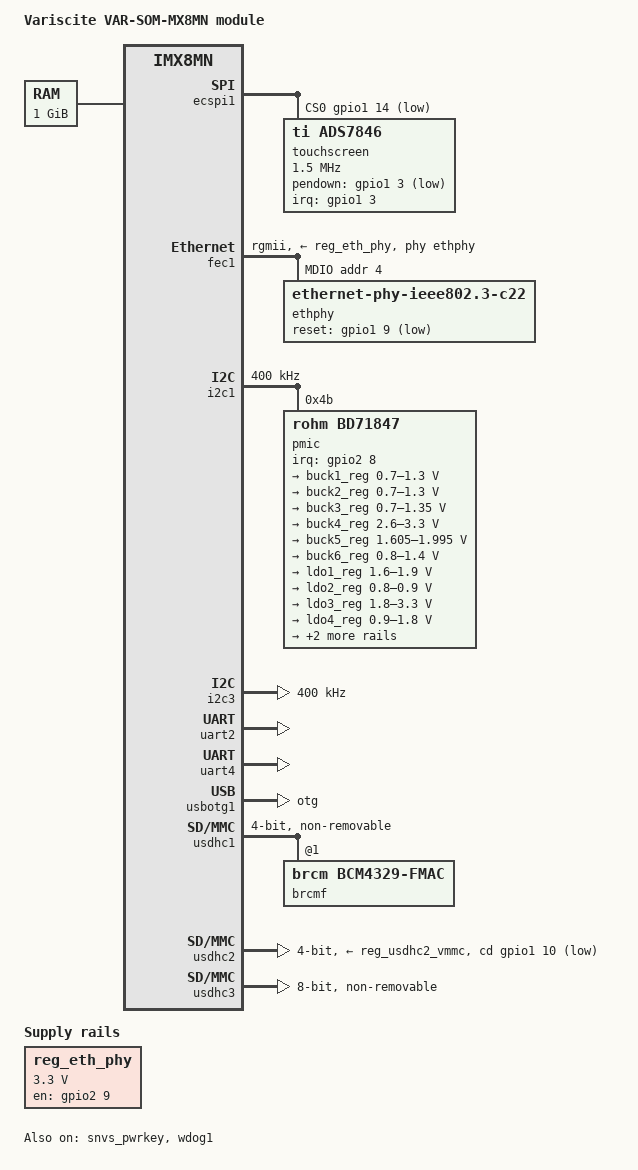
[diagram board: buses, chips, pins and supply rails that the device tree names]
// SPDX-License-Identifier: (GPL-2.0+ OR MIT)
/*
 * Copyright 2019 NXP
 * Copyright 2019-2020 Variscite Ltd.
 * Copyright (C) 2020 Krzysztof Kozlowski <krzk@kernel.org>
 */

#include "imx8mn.dtsi"

/ {
	model = "Variscite VAR-SOM-MX8MN module";
	compatible = "variscite,var-som-mx8mn", "fsl,imx8mn";

	chosen {
		stdout-path = &uart4;
	};

	memory@40000000 {
		device_type = "memory";
		reg = <0x0 0x40000000 0 0x40000000>;
	};

	reg_eth_phy: regulator-eth-phy {
		compatible = "regulator-fixed";
		pinctrl-names = "default";
		pinctrl-0 = <&pinctrl_reg_eth_phy>;
		regulator-name = "eth_phy_pwr";
		regulator-min-microvolt = <3300000>;
		regulator-max-microvolt = <3300000>;
		gpio = <&gpio2 9 GPIO_ACTIVE_HIGH>;
		enable-active-high;
	};
};

&A53_0 {
	cpu-supply = <&buck2_reg>;
};

&A53_1 {
	cpu-supply = <&buck2_reg>;
};

&A53_2 {
	cpu-supply = <&buck2_reg>;
};

&A53_3 {
	cpu-supply = <&buck2_reg>;
};

&ecspi1 {
	pinctrl-names = "default";
	pinctrl-0 = <&pinctrl_ecspi1>;
	cs-gpios = <&gpio1 14 GPIO_ACTIVE_LOW>,
		   <&gpio1  0 GPIO_ACTIVE_LOW>;
	/delete-property/ dmas;
	/delete-property/ dma-names;
	status = "okay";

	/* Resistive touch controller */
	touchscreen@0 {
		reg = <0>;
		compatible = "ti,ads7846";
		pinctrl-names = "default";
		pinctrl-0 = <&pinctrl_restouch>;
		interrupt-parent = <&gpio1>;
		interrupts = <3 IRQ_TYPE_EDGE_FALLING>;

		spi-max-frequency = <1500000>;
		pendown-gpio = <&gpio1 3 GPIO_ACTIVE_LOW>;

		ti,x-min = /bits/ 16 <125>;
		touchscreen-size-x = <4008>;
		ti,y-min = /bits/ 16 <282>;
		touchscreen-size-y = <3864>;
		ti,x-plate-ohms = /bits/ 16 <180>;
		touchscreen-max-pressure = <255>;
		touchscreen-average-samples = <10>;
		ti,debounce-tol = /bits/ 16 <3>;
		ti,debounce-rep = /bits/ 16 <1>;
		ti,settle-delay-usec = /bits/ 16 <150>;
		ti,keep-vref-on;
		wakeup-source;
	};
};

&fec1 {
	pinctrl-names = "default", "sleep";
	pinctrl-0 = <&pinctrl_fec1>;
	pinctrl-1 = <&pinctrl_fec1_sleep>;
	phy-mode = "rgmii";
	phy-handle = <&ethphy>;
	phy-supply = <&reg_eth_phy>;
	fsl,magic-packet;
	status = "okay";

	mdio {
		#address-cells = <1>;
		#size-cells = <0>;

		ethphy: ethernet-phy@4 {
			compatible = "ethernet-phy-ieee802.3-c22";
			reg = <4>;
			reset-gpios = <&gpio1 9 GPIO_ACTIVE_LOW>;
			reset-assert-us = <10000>;
		};
	};
};

&i2c1 {
	clock-frequency = <400000>;
	pinctrl-names = "default";
	pinctrl-0 = <&pinctrl_i2c1>;
	status = "okay";

	pmic@4b {
		compatible = "rohm,bd71847";
		reg = <0x4b>;
		pinctrl-names = "default";
		pinctrl-0 = <&pinctrl_pmic>;
		interrupt-parent = <&gpio2>;
		interrupts = <8 IRQ_TYPE_LEVEL_LOW>;
		rohm,reset-snvs-powered;

		regulators {
			buck1_reg: BUCK1 {
				regulator-name = "buck1";
				regulator-min-microvolt = <700000>;
				regulator-max-microvolt = <1300000>;
				regulator-boot-on;
				regulator-always-on;
				regulator-ramp-delay = <1250>;
			};

			buck2_reg: BUCK2 {
				regulator-name = "buck2";
				regulator-min-microvolt = <700000>;
				regulator-max-microvolt = <1300000>;
				regulator-boot-on;
				regulator-always-on;
				regulator-ramp-delay = <1250>;
				rohm,dvs-run-voltage = <1000000>;
				rohm,dvs-idle-voltage = <900000>;
			};

			buck3_reg: BUCK3 {
				regulator-name = "buck3";
				regulator-min-microvolt = <700000>;
				regulator-max-microvolt = <1350000>;
				regulator-boot-on;
				regulator-always-on;
			};

			buck4_reg: BUCK4 {
				regulator-name = "buck4";
				regulator-min-microvolt = <2600000>;
				regulator-max-microvolt = <3300000>;
				regulator-boot-on;
				regulator-always-on;
			};

			buck5_reg: BUCK5 {
				regulator-name = "buck5";
				regulator-min-microvolt = <1605000>;
				regulator-max-microvolt = <1995000>;
				regulator-boot-on;
				regulator-always-on;
			};

			buck6_reg: BUCK6 {
				regulator-name = "buck6";
				regulator-min-microvolt = <800000>;
				regulator-max-microvolt = <1400000>;
				regulator-boot-on;
				regulator-always-on;
			};

			ldo1_reg: LDO1 {
				regulator-name = "ldo1";
				regulator-min-microvolt = <1600000>;
				regulator-max-microvolt = <1900000>;
				regulator-boot-on;
				regulator-always-on;
			};

			ldo2_reg: LDO2 {
				regulator-name = "ldo2";
				regulator-min-microvolt = <800000>;
				regulator-max-microvolt = <900000>;
				regulator-boot-on;
				regulator-always-on;
			};

			ldo3_reg: LDO3 {
				regulator-name = "ldo3";
				regulator-min-microvolt = <1800000>;
				regulator-max-microvolt = <3300000>;
				regulator-boot-on;
				regulator-always-on;
			};

			ldo4_reg: LDO4 {
				regulator-name = "ldo4";
				regulator-min-microvolt = <900000>;
				regulator-max-microvolt = <1800000>;
				regulator-always-on;
			};

			ldo5_reg: LDO5 {
				regulator-name = "ldo5";
				regulator-min-microvolt = <1800000>;
				regulator-max-microvolt = <1800000>;
				regulator-always-on;
			};

			ldo6_reg: LDO6 {
				regulator-name = "ldo6";
				regulator-min-microvolt = <900000>;
				regulator-max-microvolt = <1800000>;
				regulator-boot-on;
				regulator-always-on;
			};
		};
	};
};

&i2c3 {
	clock-frequency = <400000>;
	pinctrl-names = "default";
	pinctrl-0 = <&pinctrl_i2c3>;
	status = "okay";

	/* TODO: configure audio, as of now just put a placeholder */
	wm8904: codec@1a {
		compatible = "wlf,wm8904";
		reg = <0x1a>;
		status = "disabled";
	};
};

&snvs_pwrkey {
	status = "okay";
};

/* Bluetooth */
&uart2 {
	pinctrl-names = "default";
	pinctrl-0 = <&pinctrl_uart2>;
	assigned-clocks = <&clk IMX8MN_CLK_UART2>;
	assigned-clock-parents = <&clk IMX8MN_SYS_PLL1_80M>;
	uart-has-rtscts;
	status = "okay";
};

/* Console */
&uart4 {
	pinctrl-names = "default";
	pinctrl-0 = <&pinctrl_uart4>;
	status = "okay";
};

&usbotg1 {
	dr_mode = "otg";
	usb-role-switch;
	status = "okay";
};

/* WIFI */
&usdhc1 {
	#address-cells = <1>;
	#size-cells = <0>;
	pinctrl-names = "default", "state_100mhz", "state_200mhz";
	pinctrl-0 = <&pinctrl_usdhc1>;
	pinctrl-1 = <&pinctrl_usdhc1_100mhz>;
	pinctrl-2 = <&pinctrl_usdhc1_200mhz>;
	bus-width = <4>;
	non-removable;
	keep-power-in-suspend;
	status = "okay";

	brcmf: bcrmf@1 {
		reg = <1>;
		compatible = "brcm,bcm4329-fmac";
	};
};

/* SD */
&usdhc2 {
	assigned-clocks = <&clk IMX8MN_CLK_USDHC2>;
	assigned-clock-rates = <200000000>;
	pinctrl-names = "default", "state_100mhz", "state_200mhz";
	pinctrl-0 = <&pinctrl_usdhc2>, <&pinctrl_usdhc2_gpio>;
	pinctrl-1 = <&pinctrl_usdhc2_100mhz>, <&pinctrl_usdhc2_gpio>;
	pinctrl-2 = <&pinctrl_usdhc2_200mhz>, <&pinctrl_usdhc2_gpio>;
	cd-gpios = <&gpio1 10 GPIO_ACTIVE_LOW>;
	bus-width = <4>;
	vmmc-supply = <&reg_usdhc2_vmmc>;
	status = "okay";
};

/* eMMC */
&usdhc3 {
	assigned-clocks = <&clk IMX8MN_CLK_USDHC3_ROOT>;
	assigned-clock-rates = <400000000>;
	pinctrl-names = "default", "state_100mhz", "state_200mhz";
	pinctrl-0 = <&pinctrl_usdhc3>;
	pinctrl-1 = <&pinctrl_usdhc3_100mhz>;
	pinctrl-2 = <&pinctrl_usdhc3_200mhz>;
	bus-width = <8>;
	non-removable;
	status = "okay";
};

&wdog1 {
	pinctrl-names = "default";
	pinctrl-0 = <&pinctrl_wdog>;
	fsl,ext-reset-output;
	status = "okay";
};

&iomuxc {
	pinctrl_ecspi1: ecspi1grp {
		fsl,pins = <
			MX8MN_IOMUXC_ECSPI1_SCLK_ECSPI1_SCLK		0x13
			MX8MN_IOMUXC_ECSPI1_MOSI_ECSPI1_MOSI		0x13
			MX8MN_IOMUXC_ECSPI1_MISO_ECSPI1_MISO		0x13
			MX8MN_IOMUXC_GPIO1_IO14_GPIO1_IO14		0x13
			MX8MN_IOMUXC_GPIO1_IO00_GPIO1_IO0		0x13
		>;
	};

	pinctrl_fec1: fec1grp {
		fsl,pins = <
			MX8MN_IOMUXC_ENET_MDC_ENET1_MDC			0x3
			MX8MN_IOMUXC_ENET_MDIO_ENET1_MDIO		0x3
			MX8MN_IOMUXC_ENET_TD3_ENET1_RGMII_TD3		0x1f
			MX8MN_IOMUXC_ENET_TD2_ENET1_RGMII_TD2		0x1f
			MX8MN_IOMUXC_ENET_TD1_ENET1_RGMII_TD1		0x1f
			MX8MN_IOMUXC_ENET_TD0_ENET1_RGMII_TD0		0x1f
			MX8MN_IOMUXC_ENET_RD3_ENET1_RGMII_RD3		0x91
			MX8MN_IOMUXC_ENET_RD2_ENET1_RGMII_RD2		0x91
			MX8MN_IOMUXC_ENET_RD1_ENET1_RGMII_RD1		0x91
			MX8MN_IOMUXC_ENET_RD0_ENET1_RGMII_RD0		0x91
			MX8MN_IOMUXC_ENET_TXC_ENET1_RGMII_TXC		0x1f
			MX8MN_IOMUXC_ENET_RXC_ENET1_RGMII_RXC		0x91
			MX8MN_IOMUXC_ENET_RX_CTL_ENET1_RGMII_RX_CTL	0x91
			MX8MN_IOMUXC_ENET_TX_CTL_ENET1_RGMII_TX_CTL	0x1f
			MX8MN_IOMUXC_GPIO1_IO09_GPIO1_IO9		0x19
		>;
	};

	pinctrl_fec1_sleep: fec1sleepgrp {
		fsl,pins = <
			MX8MN_IOMUXC_ENET_MDC_GPIO1_IO16		0x120
			MX8MN_IOMUXC_ENET_MDIO_GPIO1_IO17		0x120
			MX8MN_IOMUXC_ENET_TD3_GPIO1_IO18		0x120
			MX8MN_IOMUXC_ENET_TD2_GPIO1_IO19		0x120
			MX8MN_IOMUXC_ENET_TD1_GPIO1_IO20		0x120
			MX8MN_IOMUXC_ENET_TD0_GPIO1_IO21		0x120
			MX8MN_IOMUXC_ENET_RD3_GPIO1_IO29		0x120
			MX8MN_IOMUXC_ENET_RD2_GPIO1_IO28		0x120
			MX8MN_IOMUXC_ENET_RD1_GPIO1_IO27		0x120
			MX8MN_IOMUXC_ENET_RD0_GPIO1_IO26		0x120
			MX8MN_IOMUXC_ENET_TXC_GPIO1_IO23		0x120
			MX8MN_IOMUXC_ENET_RXC_GPIO1_IO25		0x120
			MX8MN_IOMUXC_ENET_RX_CTL_GPIO1_IO24		0x120
			MX8MN_IOMUXC_ENET_TX_CTL_GPIO1_IO22		0x120
			MX8MN_IOMUXC_GPIO1_IO09_GPIO1_IO9		0x120
		>;
	};

	pinctrl_i2c1: i2c1grp {
		fsl,pins = <
			MX8MN_IOMUXC_I2C1_SCL_I2C1_SCL		0x400001c3
			MX8MN_IOMUXC_I2C1_SDA_I2C1_SDA		0x400001c3
		>;
	};

	pinctrl_i2c3: i2c3grp {
		fsl,pins = <
			MX8MN_IOMUXC_I2C3_SCL_I2C3_SCL		0x400001c3
			MX8MN_IOMUXC_I2C3_SDA_I2C3_SDA		0x400001c3
		>;
	};

	pinctrl_pmic: pmicirqgrp {
		fsl,pins = <
			MX8MN_IOMUXC_SD1_DATA6_GPIO2_IO8	0x141
		>;
	};

	pinctrl_reg_eth_phy: regethphygrp {
		fsl,pins = <
			MX8MN_IOMUXC_SD1_DATA7_GPIO2_IO9	0x41
		>;
	};

	pinctrl_restouch: restouchgrp {
		fsl,pins = <
			MX8MN_IOMUXC_GPIO1_IO03_GPIO1_IO3	0x1c0
		>;
	};

	pinctrl_uart2: uart2grp {
		fsl,pins = <
			MX8MN_IOMUXC_SAI3_TXFS_UART2_DCE_RX	0x140
			MX8MN_IOMUXC_SAI3_TXC_UART2_DCE_TX	0x140
			MX8MN_IOMUXC_SAI3_RXC_UART2_DCE_CTS_B	0x140
			MX8MN_IOMUXC_SAI3_RXD_UART2_DCE_RTS_B	0x140
		>;
	};

	pinctrl_uart4: uart4grp {
		fsl,pins = <
			MX8MN_IOMUXC_UART4_RXD_UART4_DCE_RX	0x140
			MX8MN_IOMUXC_UART4_TXD_UART4_DCE_TX	0x140
		>;
	};

	pinctrl_usdhc1: usdhc1grp {
		fsl,pins = <
			MX8MN_IOMUXC_SD1_CLK_USDHC1_CLK		0x190
			MX8MN_IOMUXC_SD1_CMD_USDHC1_CMD		0x1d0
			MX8MN_IOMUXC_SD1_DATA0_USDHC1_DATA0	0x1d0
			MX8MN_IOMUXC_SD1_DATA1_USDHC1_DATA1	0x1d0
			MX8MN_IOMUXC_SD1_DATA2_USDHC1_DATA2	0x1d0
			MX8MN_IOMUXC_SD1_DATA3_USDHC1_DATA3	0x1d0
		>;
	};

	pinctrl_usdhc1_100mhz: usdhc1-100mhzgrp {
		fsl,pins = <
			MX8MN_IOMUXC_SD1_CLK_USDHC1_CLK		0x194
			MX8MN_IOMUXC_SD1_CMD_USDHC1_CMD		0x1d4
			MX8MN_IOMUXC_SD1_DATA0_USDHC1_DATA0	0x1d4
			MX8MN_IOMUXC_SD1_DATA1_USDHC1_DATA1	0x1d4
			MX8MN_IOMUXC_SD1_DATA2_USDHC1_DATA2	0x1d4
			MX8MN_IOMUXC_SD1_DATA3_USDHC1_DATA3	0x1d4
		>;
	};

	pinctrl_usdhc1_200mhz: usdhc1-200mhzgrp {
		fsl,pins = <
			MX8MN_IOMUXC_SD1_CLK_USDHC1_CLK		0x196
			MX8MN_IOMUXC_SD1_CMD_USDHC1_CMD		0x1d6
			MX8MN_IOMUXC_SD1_DATA0_USDHC1_DATA0	0x1d6
			MX8MN_IOMUXC_SD1_DATA1_USDHC1_DATA1	0x1d6
			MX8MN_IOMUXC_SD1_DATA2_USDHC1_DATA2	0x1d6
			MX8MN_IOMUXC_SD1_DATA3_USDHC1_DATA3	0x1d6
		>;
	};

	pinctrl_usdhc2_gpio: usdhc2gpiogrp {
		fsl,pins = <
			MX8MN_IOMUXC_GPIO1_IO10_GPIO1_IO10	0x41
		>;
	};

	pinctrl_usdhc2: usdhc2grp {
		fsl,pins = <
			MX8MN_IOMUXC_SD2_CLK_USDHC2_CLK		0x190
			MX8MN_IOMUXC_SD2_CMD_USDHC2_CMD		0x1d0
			MX8MN_IOMUXC_SD2_DATA0_USDHC2_DATA0	0x1d0
			MX8MN_IOMUXC_SD2_DATA1_USDHC2_DATA1	0x1d0
			MX8MN_IOMUXC_SD2_DATA2_USDHC2_DATA2	0x1d0
			MX8MN_IOMUXC_SD2_DATA3_USDHC2_DATA3	0x1d0
			MX8MN_IOMUXC_GPIO1_IO04_USDHC2_VSELECT	0x1d0
		>;
	};

	pinctrl_usdhc2_100mhz: usdhc2-100mhzgrp {
		fsl,pins = <
			MX8MN_IOMUXC_SD2_CLK_USDHC2_CLK		0x194
			MX8MN_IOMUXC_SD2_CMD_USDHC2_CMD		0x1d4
			MX8MN_IOMUXC_SD2_DATA0_USDHC2_DATA0	0x1d4
			MX8MN_IOMUXC_SD2_DATA1_USDHC2_DATA1	0x1d4
			MX8MN_IOMUXC_SD2_DATA2_USDHC2_DATA2	0x1d4
			MX8MN_IOMUXC_SD2_DATA3_USDHC2_DATA3	0x1d4
			MX8MN_IOMUXC_GPIO1_IO04_USDHC2_VSELECT	0x1d0
		>;
	};

	pinctrl_usdhc2_200mhz: usdhc2-200mhzgrp {
		fsl,pins = <
			MX8MN_IOMUXC_SD2_CLK_USDHC2_CLK		0x196
			MX8MN_IOMUXC_SD2_CMD_USDHC2_CMD		0x1d6
			MX8MN_IOMUXC_SD2_DATA0_USDHC2_DATA0	0x1d6
			MX8MN_IOMUXC_SD2_DATA1_USDHC2_DATA1	0x1d6
			MX8MN_IOMUXC_SD2_DATA2_USDHC2_DATA2	0x1d6
			MX8MN_IOMUXC_SD2_DATA3_USDHC2_DATA3	0x1d6
			MX8MN_IOMUXC_GPIO1_IO04_USDHC2_VSELECT	0x1d0
		>;
	};

	pinctrl_usdhc3: usdhc3grp {
		fsl,pins = <
			MX8MN_IOMUXC_NAND_WE_B_USDHC3_CLK	0x190
			MX8MN_IOMUXC_NAND_WP_B_USDHC3_CMD	0x1d0
			MX8MN_IOMUXC_NAND_DATA04_USDHC3_DATA0	0x1d0
			MX8MN_IOMUXC_NAND_DATA05_USDHC3_DATA1	0x1d0
			MX8MN_IOMUXC_NAND_DATA06_USDHC3_DATA2	0x1d0
			MX8MN_IOMUXC_NAND_DATA07_USDHC3_DATA3	0x1d0
			MX8MN_IOMUXC_NAND_RE_B_USDHC3_DATA4	0x1d0
			MX8MN_IOMUXC_NAND_CE2_B_USDHC3_DATA5	0x1d0
			MX8MN_IOMUXC_NAND_CE3_B_USDHC3_DATA6	0x1d0
			MX8MN_IOMUXC_NAND_CLE_USDHC3_DATA7	0x1d0
			MX8MN_IOMUXC_NAND_CE1_B_USDHC3_STROBE	0x190
		>;
	};

	pinctrl_usdhc3_100mhz: usdhc3-100mhzgrp {
		fsl,pins = <
			MX8MN_IOMUXC_NAND_WE_B_USDHC3_CLK	0x194
			MX8MN_IOMUXC_NAND_WP_B_USDHC3_CMD	0x1d4
			MX8MN_IOMUXC_NAND_DATA04_USDHC3_DATA0	0x1d4
			MX8MN_IOMUXC_NAND_DATA05_USDHC3_DATA1	0x1d4
			MX8MN_IOMUXC_NAND_DATA06_USDHC3_DATA2	0x1d4
			MX8MN_IOMUXC_NAND_DATA07_USDHC3_DATA3	0x1d4
			MX8MN_IOMUXC_NAND_RE_B_USDHC3_DATA4	0x1d4
			MX8MN_IOMUXC_NAND_CE2_B_USDHC3_DATA5	0x1d4
			MX8MN_IOMUXC_NAND_CE3_B_USDHC3_DATA6	0x1d4
			MX8MN_IOMUXC_NAND_CLE_USDHC3_DATA7	0x1d4
			MX8MN_IOMUXC_NAND_CE1_B_USDHC3_STROBE	0x194
		>;
	};

	pinctrl_usdhc3_200mhz: usdhc3-200mhzgrp {
		fsl,pins = <
			MX8MN_IOMUXC_NAND_WE_B_USDHC3_CLK	0x196
			MX8MN_IOMUXC_NAND_WP_B_USDHC3_CMD	0x1d6
			MX8MN_IOMUXC_NAND_DATA04_USDHC3_DATA0	0x1d6
			MX8MN_IOMUXC_NAND_DATA05_USDHC3_DATA1	0x1d6
			MX8MN_IOMUXC_NAND_DATA06_USDHC3_DATA2	0x1d6
			MX8MN_IOMUXC_NAND_DATA07_USDHC3_DATA3	0x1d6
			MX8MN_IOMUXC_NAND_RE_B_USDHC3_DATA4	0x1d6
			MX8MN_IOMUXC_NAND_CE2_B_USDHC3_DATA5	0x1d6
			MX8MN_IOMUXC_NAND_CE3_B_USDHC3_DATA6	0x1d6
			MX8MN_IOMUXC_NAND_CLE_USDHC3_DATA7	0x1d6
			MX8MN_IOMUXC_NAND_CE1_B_USDHC3_STROBE	0x196
		>;
	};

	pinctrl_wdog: wdoggrp {
		fsl,pins = <
			MX8MN_IOMUXC_GPIO1_IO02_WDOG1_WDOG_B	0x166
		>;
	};
};
